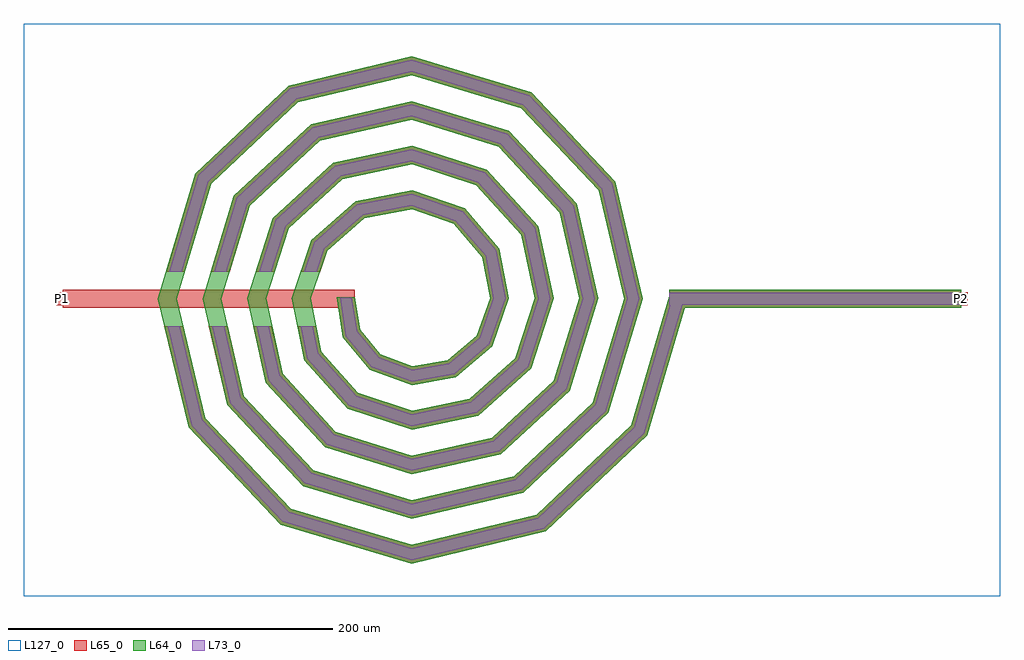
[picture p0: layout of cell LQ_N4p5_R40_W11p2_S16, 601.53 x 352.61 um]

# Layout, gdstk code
import gdstk
lib = gdstk.Library(unit=1e-6, precision=1e-09)
def R(c, l, rs):  # rectangles x0, y0, x1, y1
    for r in rs: c.add(gdstk.rectangle(r[:2], r[2:], *l))
def P(c, l, *ps):  # polygons
    for p in ps: c.add(gdstk.Polygon(p, *l))
L64_0 = (64, 0)
L65_0 = (65, 0)
L73_0 = (73, 0)
L127_0 = (127, 0)

lq_n4p5_r40_w11p2_s16 = lib.new_cell('LQ_N4p5_R40_W11p2_S16')
R(lq_n4p5_r40_w11p2_s16, L64_0, [(158.667,-5.6,338.667,5.6)])
P(lq_n4p5_r40_w11p2_s16, L64_0, [(-31.736,-18.991),(-19.16,-34.283),(0.522,-41.561),(22.357,-37.727),(40.199,-22.659),(48.434,0.456),(43.711,25.742),(26.144,46.125),(0.405,55.309),(-29.139,49.689),(-52.057,29.62),(-62.185,0.364),(-55.662,-32.544),(-33.089,-57.995),(0.331,-69.061),(35.955,-61.633),(63.935,-36.553),(75.938,0.303),(67.602,39.371),(40.013,69.879),(0.28,82.816),(-42.79,73.569),(-75.824,43.47),(-89.693,0.26),(-79.535,-46.212),(-46.924,-81.771),(0.242,-96.57),(49.637,-85.499),(87.719,-50.377),(103.448,0.227),(91.463,53.063),(53.828,93.668),(0.214,110.326),(-56.491,97.426),(-99.619,57.278),(-117.204,0.202),(-103.388,-59.92),(-60.726,-105.569),(0.191,-124.082),(63.35,-109.349),(111.521,-64.174),(130.959,0.181),(115.311,66.781),(67.62,117.473),(0.173,137.837),(-70.212,121.271),(-123.425,71.066),(-144.715,0.165),(-127.232,-73.645),(-74.512,-129.378),(0.158,-151.593),(77.078,-133.192),(135.331,-77.957),(158.898,1.591),(169.637,-1.591),(145.217,-84.018),(82.604,-143.386),(0.158,-163.185),(-80.584,-139.257),(-137.432,-79.159),(-156.306,0.165),(-133.296,77.152),(-75.713,131.479),(0.173,149.428),(73.72,127.335),(125.526,72.267),(142.55,0.181),(121.374,-70.288),(68.82,-119.574),(0.191,-135.671),(-66.857,-115.412),(-113.622,-65.371),(-128.793,0.202),(-109.449,63.428),(-61.922,107.671),(0.214,121.914),(59.999,103.486),(101.721,58.472),(115.036,0.227),(97.522,-56.572),(55.02,-95.771),(0.242,-108.157),(-53.146,-91.557),(-89.822,-51.566),(-101.278,0.26),(-85.591,49.723),(-48.11,83.874),(0.28,94.399),(46.302,79.623),(77.928,44.651),(87.52,0.303),(73.653,-42.884),(41.189,-71.983),(0.331,-80.64),(-39.469,-67.68),(-66.041,-37.722),(-73.76,0.364),(-61.704,36.06),(-34.248,60.101),(0.405,66.88),(32.658,55.723),(54.166,30.767),(59.998,0.456),(49.735,-29.265),(27.273,-48.236),(0.522,-53.115),(-25.886,-43.738),(-42.313,-23.762),(-45.989,0.888),(-34.931,0.888)])
R(lq_n4p5_r40_w11p2_s16, L65_0, [(-214.86,-5.6,-34.86,5.6), (158.667,-5.6,338.667,5.6), (-218.86,-4,-210.86,4), (334.667,-4,342.667,4)])
P(lq_n4p5_r40_w11p2_s16, L65_0, [(-127.232,-73.645),(-74.512,-129.378),(0.158,-151.593),(77.078,-133.192),(135.331,-77.957),(158.898,1.591),(169.637,-1.591),(145.217,-84.018),(82.604,-143.386),(0.158,-163.185),(-80.585,-139.257),(-137.432,-79.159),(-152.27,-16.8),(-140.757,-16.8)],
  [(-103.388,-59.92),(-60.726,-105.569),(0.191,-124.082),(63.35,-109.349),(111.521,-64.174),(130.959,0.181),(115.311,66.781),(67.621,117.473),(0.173,137.837),(-70.212,121.271),(-123.425,71.067),(-139.645,16.8),(-151.334,16.8),(-133.296,77.152),(-75.713,131.479),(0.173,149.428),(73.72,127.335),(125.526,72.267),(142.55,0.181),(121.374,-70.288),(68.82,-119.574),(0.191,-135.671),(-66.858,-115.412),(-113.622,-65.371),(-124.859,-16.8),(-113.364,-16.8)],
  [(-79.535,-46.212),(-46.924,-81.771),(0.242,-96.57),(49.637,-85.499),(87.719,-50.377),(103.448,0.227),(91.463,53.063),(53.828,93.668),(0.214,110.326),(-56.491,97.426),(-99.619,57.278),(-112.002,16.8),(-123.715,16.8),(-109.449,63.428),(-61.922,107.671),(0.214,121.914),(59.999,103.486),(101.721,58.472),(115.036,0.227),(97.522,-56.572),(55.02,-95.771),(0.242,-108.157),(-53.147,-91.557),(-89.822,-51.566),(-97.507,-16.8),(-86.037,-16.8)],
  [(-55.663,-32.544),(-33.089,-57.995),(0.331,-69.061),(35.955,-61.634),(63.935,-36.553),(75.938,0.303),(67.602,39.371),(40.013,69.879),(0.28,82.816),(-42.79,73.569),(-75.824,43.47),(-84.282,16.8),(-96.032,16.8),(-85.591,49.723),(-48.11,83.874),(0.28,94.399),(46.302,79.623),(77.928,44.651),(87.52,0.303),(73.653,-42.884),(41.189,-71.983),(0.331,-80.64),(-39.469,-67.68),(-66.041,-37.722),(-70.281,-16.8),(-58.854,-16.8)],
  [(-19.16,-34.283),(0.522,-41.561),(22.358,-37.727),(40.199,-22.659),(48.434,0.457),(43.711,25.742),(26.144,46.125),(0.405,55.309),(-29.139,49.689),(-52.057,29.62),(-56.387,16.8),(-68.209,16.8),(-61.704,36.06),(-34.248,60.101),(0.405,66.88),(32.658,55.723),(54.166,30.767),(59.999,0.457),(49.735,-29.265),(27.273,-48.236),(0.522,-53.116),(-25.886,-43.738),(-42.313,-23.762),(-45.989,0.889),(-34.931,0.889),(-31.736,-18.991)])
R(lq_n4p5_r40_w11p2_s16, L73_0, [(158.667,-3.6,338.667,3.6)])
P(lq_n4p5_r40_w11p2_s16, L73_0, [(-129.053,-74.629),(-75.596,-131.142),(0.101,-153.663),(78.065,-135.012),(137.097,-79.039),(160.816,1.023),(167.719,-1.023),(143.452,-82.936),(81.617,-141.565),(0.101,-161.115),(-79.5,-137.493),(-135.611,-78.174),(-150.214,-16.8),(-142.813,-16.8)],
  [(-105.216,-60.893),(-61.821,-107.327),(0.123,-126.151),(64.326,-111.175),(113.28,-65.266),(133.029,0.117),(117.135,67.76),(68.71,119.234),(0.111,139.907),(-71.195,123.094),(-125.188,72.153),(-141.732,16.8),(-149.247,16.8),(-131.534,76.065),(-74.731,129.656),(0.111,147.358),(72.63,125.574),(123.702,71.287),(140.48,0.117),(119.614,-69.196),(67.843,-117.748),(0.123,-133.602),(-65.763,-113.654),(-111.795,-64.398),(-122.807,-16.8),(-115.416,-16.8)],
  [(-81.372,-47.168),(-48.036,-83.518),(0.156,-98.639),(50.598,-87.334),(89.47,-51.483),(105.517,0.146),(93.295,54.029),(54.93,95.422),(0.137,112.395),(-57.461,99.255),(-101.374,58.376),(-114.094,16.8),(-121.623,16.8),(-107.694,62.33),(-60.952,105.842),(0.137,119.845),(58.897,101.733),(99.889,57.506),(112.966,0.146),(95.772,-55.466),(54.059,-93.937),(0.156,-106.088),(-52.035,-89.81),(-87.985,-50.61),(-95.459,-16.8),(-88.085,-16.8)],
  [(-57.516,-33.468),(-34.228,-59.724),(0.213,-71.129),(36.89,-63.482),(65.671,-37.683),(78.006,0.195),(69.446,40.314),(41.136,71.619),(0.18,84.884),(-43.74,75.409),(-77.568,44.587),(-86.381,16.8),(-93.934,16.8),(-83.847,48.606),(-47.16,82.034),(0.18,92.331),(45.179,77.883),(76.084,43.708),(85.452,0.195),(71.917,-41.753),(40.254,-70.135),(0.213,-78.573),(-38.33,-65.95),(-64.188,-36.797),(-68.241,-16.8),(-60.894,-16.8)],
  [(-20.361,-35.972),(0.336,-43.624),(23.235,-39.604),(41.902,-23.838),(50.499,0.294),(45.578,26.639),(27.307,47.839),(0.261,57.375),(-30.051,51.548),(-53.78,30.77),(-58.498,16.8),(-66.098,16.8),(-59.981,34.91),(-33.336,58.242),(0.261,64.814),(31.495,54.009),(52.299,29.87),(57.933,0.294),(48.032,-28.085),(26.396,-46.359),(0.336,-51.052),(-24.685,-42.049),(-40.425,-22.91),(-44.014,0.571),(-36.906,0.571),(-33.625,-19.843)])
R(lq_n4p5_r40_w11p2_s16, L127_0, [(-238.86,-183.185,362.667,169.428)])
lq_n4p5_r40_w11p2_s16.add(gdstk.Label('P2', (338.667,0), layer=65, texttype=0))
lq_n4p5_r40_w11p2_s16.add(gdstk.Label('P1', (-214.86,0), layer=65, texttype=0))
lq_n4p5_r40_w11p2_s16.add(gdstk.Label('P2', (342.667,0), layer=145, texttype=0))
lq_n4p5_r40_w11p2_s16.add(gdstk.Label('P1', (-218.86,0), layer=145, texttype=0))

lib.write_gds('LQ_N4p5_R40_W11p2_S16.gds')
